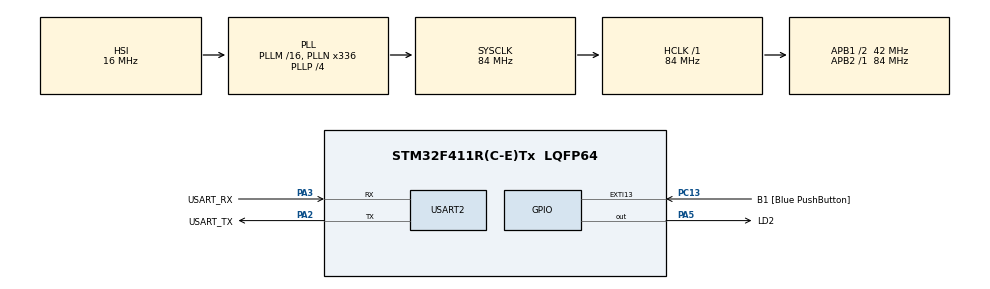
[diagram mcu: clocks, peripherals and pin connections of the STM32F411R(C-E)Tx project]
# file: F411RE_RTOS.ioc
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FREERTOS.Tasks01=defaultTask,24,128,StartDefaultTask,Default,NULL,Dynamic,NULL,NULL;myTask02,8,128,StartTask02,Default,NULL,Dynamic,NULL,NULL;myTask03,8,128,StartTask03,Default,NULL,Dynamic,NULL,NULL
FREERTOS.configUSE_NEWLIB_REENTRANT=1
Mcu.Family=STM32F4
Mcu.Name=STM32F411R(C-E)Tx
Mcu.Package=LQFP64
NVIC.PriorityGroup=NVIC_PRIORITYGROUP_4
NVIC.TIM4_IRQn=true\:15\:0\:false\:false\:true\:false\:false\:true\:true
NVIC.TimeBase=TIM4_IRQn
NVIC.TimeBaseIP=TIM4
PA13.GPIO_Label=TMS
PA13.Mode=Serial_Wire
PA13.Signal=SYS_JTMS-SWDIO
PA14.GPIO_Label=TCK
PA14.Mode=Serial_Wire
PA14.Signal=SYS_JTCK-SWCLK
PA2.GPIO_Label=USART_TX
PA2.Mode=Asynchronous
PA2.Signal=USART2_TX
PA3.GPIO_Label=USART_RX
PA3.Mode=Asynchronous
PA3.Signal=USART2_RX
PA5.GPIO_Label=LD2
PA5.Signal=GPIO_Output
PB3.GPIO_Label=SWO
PB3.Signal=SYS_JTDO-SWO
PC13-ANTI_TAMP.GPIO_Label=B1 [Blue PushButton]
PC13-ANTI_TAMP.GPIO_ModeDefaultEXTI=GPIO_MODE_IT_FALLING
PC13-ANTI_TAMP.Signal=GPXTI13
PC14-OSC32_IN.Mode=LSE-External-Oscillator
PC14-OSC32_IN.Signal=RCC_OSC32_IN
PC15-OSC32_OUT.Mode=LSE-External-Oscillator
PC15-OSC32_OUT.Signal=RCC_OSC32_OUT
PH0\ -\ OSC_IN.Mode=HSE-External-Clock-Source
PH0\ -\ OSC_IN.Signal=RCC_OSC_IN
PH1\ -\ OSC_OUT.Mode=HSE-External-Clock-Source
PH1\ -\ OSC_OUT.Signal=RCC_OSC_OUT
ProjectManager.HeapSize=0x200
ProjectManager.StackSize=0x400
ProjectManager.TargetToolchain=STM32CubeIDE
RCC.48MHZClocksFreq_Value=84000000
RCC.AHBFreq_Value=84000000
RCC.APB1CLKDivider=RCC_HCLK_DIV2
RCC.APB1Freq_Value=42000000
RCC.APB1TimFreq_Value=84000000
RCC.APB2Freq_Value=84000000
RCC.APB2TimFreq_Value=84000000
RCC.CortexFreq_Value=84000000
RCC.FLatency-AdvancedSettings=FLASH_LATENCY_2
RCC.HCLKFreq_Value=84000000
RCC.HSE_VALUE=8000000
RCC.HSI_VALUE=16000000
RCC.PLLN=336
RCC.PLLP=RCC_PLLP_DIV4
RCC.SYSCLKFreq_VALUE=84000000
RCC.SYSCLKSource=RCC_SYSCLKSOURCE_PLLCLK
RCC.VCOOutputFreq_Value=336000000
USART2.VirtualMode=VM_ASYNC
VP_FREERTOS_VS_CMSIS_V2.Mode=CMSIS_V2
VP_SYS_VS_tim4.Mode=TIM4
board=NUCLEO-F411RE

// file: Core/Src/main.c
/* USER CODE BEGIN Header */
/**
  ******************************************************************************
  * @file           : main.c
  * @brief          : Main program body
  ******************************************************************************
  * @attention
  *
  * Copyright (c) 2025 STMicroelectronics.
  * All rights reserved.
  *
  * This software is licensed under terms that can be found in the LICENSE file
  * in the root directory of this software component.
  * If no LICENSE file comes with this software, it is provided AS-IS.
  *
  ******************************************************************************
  */
/* USER CODE END Header */
#include "main.h"
#include "cmsis_os.h"

UART_HandleTypeDef huart2;

/* Definitions for defaultTask */
osThreadId_t defaultTaskHandle;
const osThreadAttr_t defaultTask_attributes = {
  .name = "defaultTask",
  .stack_size = 128 * 4,
  .priority = (osPriority_t) osPriorityNormal,
};
/* Definitions for myTask02 */
osThreadId_t myTask02Handle;
const osThreadAttr_t myTask02_attributes = {
  .name = "myTask02",
  .stack_size = 128 * 4,
  .priority = (osPriority_t) osPriorityLow,
};
/* Definitions for myTask03 */
osThreadId_t myTask03Handle;
const osThreadAttr_t myTask03_attributes = {
  .name = "myTask03",
  .stack_size = 128 * 4,
  .priority = (osPriority_t) osPriorityLow,
};

void SystemClock_Config(void);
static void MX_GPIO_Init(void);
static void MX_USART2_UART_Init(void);
void StartDefaultTask(void *argument);
void StartTask02(void *argument);
void StartTask03(void *argument);

/* USER CODE BEGIN 0 */
#ifdef __GNUC__
#define PUTCHAR_PROTOTYPE int __io_putchar(int ch)
#else
#define PUTCHAR_PROTOTYPE int fputc(int ch, FILE *f)
#endif

PUTCHAR_PROTOTYPE
{
  HAL_UART_Transmit(&huart2, (uint8_t *)&ch, 1, HAL_MAX_DELAY);
  return ch;
}
/* USER CODE END 0 */

int main(void)
{

  /* MCU Configuration--------------------------------------------------------*/

  /* Reset of all peripherals, Initializes the Flash interface and the Systick. */
  HAL_Init();

  /* Configure the system clock */
  SystemClock_Config();

  /* Initialize all configured peripherals */
  MX_GPIO_Init();
  MX_USART2_UART_Init();

  /* Init scheduler */
  osKernelInitialize();

  /* Create the thread(s) */
  /* creation of defaultTask */
  defaultTaskHandle = osThreadNew(StartDefaultTask, NULL, &defaultTask_attributes);

  /* creation of myTask02 */
  myTask02Handle = osThreadNew(StartTask02, NULL, &myTask02_attributes);

  /* creation of myTask03 */
  myTask03Handle = osThreadNew(StartTask03, NULL, &myTask03_attributes);

  /* Start scheduler */
  osKernelStart();

  /* We should never get here as control is now taken by the scheduler */

  /* Infinite loop */
  while (1)
  {

  }
}

void SystemClock_Config(void)
{
  RCC_OscInitTypeDef RCC_OscInitStruct = {0};
  RCC_ClkInitTypeDef RCC_ClkInitStruct = {0};

  /** Configure the main internal regulator output voltage
  */
  __HAL_RCC_PWR_CLK_ENABLE();
  __HAL_PWR_VOLTAGESCALING_CONFIG(PWR_REGULATOR_VOLTAGE_SCALE1);

  /** Initializes the RCC Oscillators according to the specified parameters
  * in the RCC_OscInitTypeDef structure.
  */
  RCC_OscInitStruct.OscillatorType = RCC_OSCILLATORTYPE_HSI;
  RCC_OscInitStruct.HSIState = RCC_HSI_ON;
  RCC_OscInitStruct.HSICalibrationValue = RCC_HSICALIBRATION_DEFAULT;
  RCC_OscInitStruct.PLL.PLLState = RCC_PLL_ON;
  RCC_OscInitStruct.PLL.PLLSource = RCC_PLLSOURCE_HSI;
  RCC_OscInitStruct.PLL.PLLM = 16;
  RCC_OscInitStruct.PLL.PLLN = 336;
  RCC_OscInitStruct.PLL.PLLP = RCC_PLLP_DIV4;
  RCC_OscInitStruct.PLL.PLLQ = 4;
  if (HAL_RCC_OscConfig(&RCC_OscInitStruct) != HAL_OK)
  {
    Error_Handler();
  }

  /** Initializes the CPU, AHB and APB buses clocks
  */
  RCC_ClkInitStruct.ClockType = RCC_CLOCKTYPE_HCLK|RCC_CLOCKTYPE_SYSCLK
                              |RCC_CLOCKTYPE_PCLK1|RCC_CLOCKTYPE_PCLK2;
  RCC_ClkInitStruct.SYSCLKSource = RCC_SYSCLKSOURCE_PLLCLK;
  RCC_ClkInitStruct.AHBCLKDivider = RCC_SYSCLK_DIV1;
  RCC_ClkInitStruct.APB1CLKDivider = RCC_HCLK_DIV2;
  RCC_ClkInitStruct.APB2CLKDivider = RCC_HCLK_DIV1;

  if (HAL_RCC_ClockConfig(&RCC_ClkInitStruct, FLASH_LATENCY_2) != HAL_OK)
  {
    Error_Handler();
  }
}

static void MX_USART2_UART_Init(void)
{

  huart2.Instance = USART2;
  huart2.Init.BaudRate = 115200;
  huart2.Init.WordLength = UART_WORDLENGTH_8B;
  huart2.Init.StopBits = UART_STOPBITS_1;
  huart2.Init.Parity = UART_PARITY_NONE;
  huart2.Init.Mode = UART_MODE_TX_RX;
  huart2.Init.HwFlowCtl = UART_HWCONTROL_NONE;
  huart2.Init.OverSampling = UART_OVERSAMPLING_16;
  if (HAL_UART_Init(&huart2) != HAL_OK)
  {
    Error_Handler();
  }

}

static void MX_GPIO_Init(void)
{
  GPIO_InitTypeDef GPIO_InitStruct = {0};

  /* GPIO Ports Clock Enable */
  __HAL_RCC_GPIOC_CLK_ENABLE();
  __HAL_RCC_GPIOH_CLK_ENABLE();
  __HAL_RCC_GPIOA_CLK_ENABLE();
  __HAL_RCC_GPIOB_CLK_ENABLE();

  /*Configure GPIO pin Output Level */
  HAL_GPIO_WritePin(LD2_GPIO_Port, LD2_Pin, GPIO_PIN_RESET);

  /*Configure GPIO pin : B1_Pin */
  GPIO_InitStruct.Pin = B1_Pin;
  GPIO_InitStruct.Mode = GPIO_MODE_IT_FALLING;
  GPIO_InitStruct.Pull = GPIO_NOPULL;
  HAL_GPIO_Init(B1_GPIO_Port, &GPIO_InitStruct);

  /*Configure GPIO pin : LD2_Pin */
  GPIO_InitStruct.Pin = LD2_Pin;
  GPIO_InitStruct.Mode = GPIO_MODE_OUTPUT_PP;
  GPIO_InitStruct.Pull = GPIO_NOPULL;
  GPIO_InitStruct.Speed = GPIO_SPEED_FREQ_LOW;
  HAL_GPIO_Init(LD2_GPIO_Port, &GPIO_InitStruct);

}

void StartDefaultTask(void *argument)
{
  /* USER CODE BEGIN 5 */
  /* Infinite loop */
  for(;;)
  {
	//UART_LOCK();
	printf("Task01 (defaultTask) alive delay 1.5s\r\n");
    osDelay(1500);
  }
  /* USER CODE END 5 */
}

void StartTask02(void *argument)
{
  /* USER CODE BEGIN StartTask02 */
  /* Infinite loop */
  for(;;)
  {
	HAL_GPIO_TogglePin(GPIOA, LD2_Pin);
	printf("Task02 LD2 delay 1s\r\n");
    osDelay(1000);
  }
  /* USER CODE END StartTask02 */
}

void StartTask03(void *argument)
{
  /* USER CODE BEGIN StartTask03 */
  /* Infinite loop */
  for(;;)
  {
    HAL_GPIO_TogglePin(GPIOA, LD2_Pin);
	printf("Task03 LD2 delay 0.5s\r\n");
    osDelay(500);
  }
  /* USER CODE END StartTask03 */
}

void HAL_TIM_PeriodElapsedCallback(TIM_HandleTypeDef *htim)
{
  if (htim->Instance == TIM4)
  {
    HAL_IncTick();
  }
}

void Error_Handler(void)
{
  __disable_irq();
  while (1)
  {
  }
}
